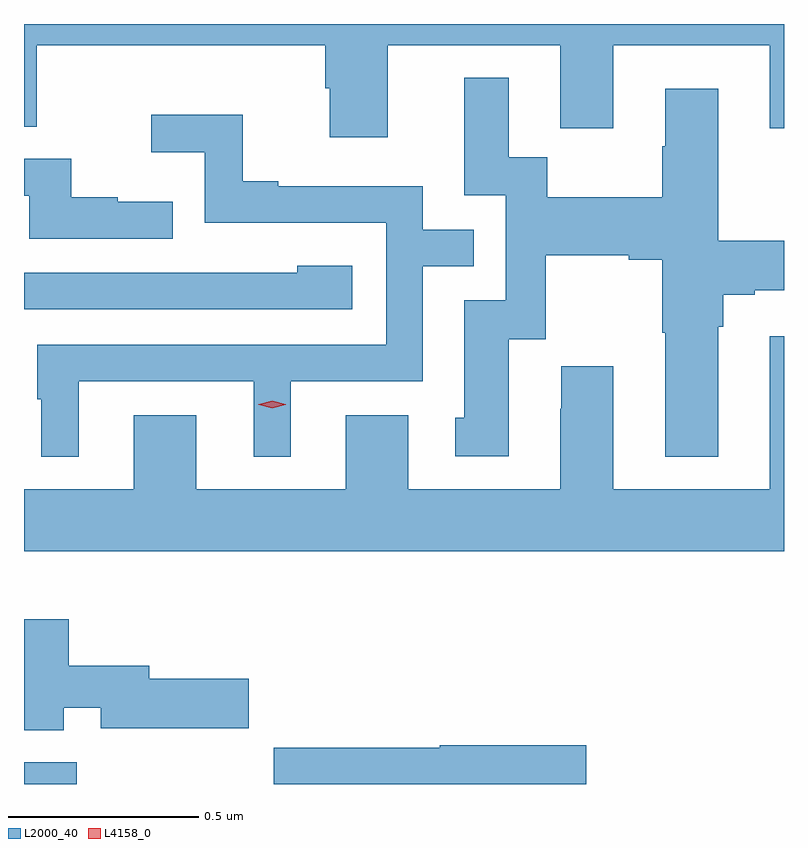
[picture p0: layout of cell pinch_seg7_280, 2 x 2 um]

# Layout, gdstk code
import gdstk
lib = gdstk.Library(unit=1e-6, precision=1e-09)
def R(c, l, rs):  # rectangles x0, y0, x1, y1
    for r in rs: c.add(gdstk.rectangle(r[:2], r[2:], *l))
def P(c, l, *ps):  # polygons
    for p in ps: c.add(gdstk.Polygon(p, *l))
L2000_40 = (2000, 40)
L4158_0 = (4158, 0)

pinch_seg7_280 = lib.new_cell('pinch_seg7_280')
R(pinch_seg7_280, L2000_40, [(759.658,1065.272,759.797,1065.329)])
P(pinch_seg7_280, L2000_40, [(760.615,1067.216),(761.069,1067.216),(761.069,1066.998),(761.209,1066.998),(761.209,1067.216),(761.621,1067.216),(761.621,1066.998),(761.658,1066.998),(761.658,1067.272),(759.658,1067.272),(759.658,1067.002),(759.691,1067.002),(759.691,1067.216),(760.451,1067.216),(760.451,1067.103),(760.463,1067.103),(760.463,1066.974),(760.615,1066.974)],
  [(761.485,1066.475),(761.498,1066.475),(761.498,1066.559),(761.581,1066.559),(761.581,1066.571),(761.658,1066.571),(761.658,1066.701),(761.485,1066.701),(761.485,1067.101),(761.345,1067.101),(761.345,1066.95),(761.338,1066.95),(761.338,1066.816),(761.035,1066.816),(761.035,1066.922),(760.933,1066.922),(760.933,1067.131),(760.817,1067.131),(760.817,1066.821),(760.926,1066.821),(760.926,1066.545),(760.817,1066.545),(760.817,1066.236),(760.793,1066.236),(760.793,1066.134),(760.933,1066.134),(760.933,1066.442),(761.031,1066.442),(761.031,1066.664),(761.249,1066.664),(761.249,1066.652),(761.338,1066.652),(761.338,1066.459),(761.345,1066.459),(761.345,1066.133),(761.485,1066.133)],
  [(759.802,1066.332),(760.262,1066.332),(760.262,1066.133),(760.36,1066.133),(760.36,1066.332),(760.707,1066.332),(760.707,1066.635),(760.841,1066.635),(760.841,1066.731),(760.707,1066.731),(760.707,1066.845),(760.327,1066.845),(760.327,1066.858),(760.233,1066.858),(760.233,1067.033),(759.993,1067.033),(759.993,1066.934),(760.134,1066.934),(760.134,1066.749),(760.611,1066.749),(760.611,1066.428),(759.693,1066.428),(759.693,1066.284),(759.704,1066.284),(759.704,1066.133),(759.802,1066.133)],
  [(760.049,1066.804),(759.905,1066.804),(759.905,1066.816),(759.782,1066.816),(759.782,1066.917),(759.658,1066.917),(759.658,1066.82),(759.672,1066.82),(759.672,1066.707),(760.049,1066.707)],
  [(760.522,1066.636),(760.377,1066.636),(760.377,1066.618),(760.141,1066.618),(760.141,1066.617),(759.658,1066.617),(759.658,1066.521),(760.522,1066.521)],
  [(761.658,1066.45),(761.621,1066.45),(761.621,1066.048),(761.209,1066.048),(761.209,1066.372),(761.072,1066.372),(761.072,1066.259),(761.069,1066.259),(761.069,1066.048),(760.669,1066.048),(760.669,1066.243),(760.505,1066.243),(760.505,1066.048),(760.111,1066.048),(760.111,1066.243),(759.947,1066.243),(759.947,1066.048),(759.658,1066.048),(759.658,1065.884),(761.658,1065.884)],
  [(759.763,1065.473),(759.86,1065.473),(759.86,1065.419),(760.249,1065.419),(760.249,1065.549),(759.988,1065.549),(759.988,1065.583),(759.776,1065.583),(759.776,1065.706),(759.658,1065.706),(759.658,1065.414),(759.763,1065.414)],
  [(761.137,1065.374),(760.752,1065.374),(760.752,1065.368),(760.315,1065.368),(760.315,1065.272),(761.137,1065.272)])
P(pinch_seg7_280, L4158_0, [(760.311,1066.261),(760.276,1066.27),(760.275,1066.271),(760.276,1066.271),(760.311,1066.281),(760.347,1066.271),(760.347,1066.271),(760.347,1066.27)])

lib.write_gds('pinch_seg7_280.gds')
